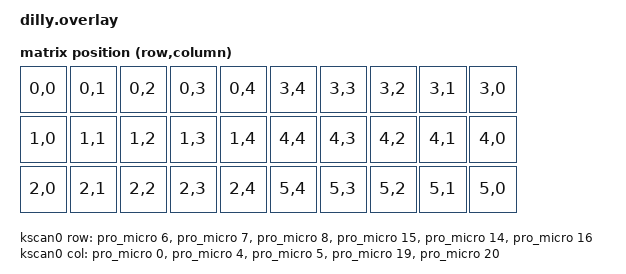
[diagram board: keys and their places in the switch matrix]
/*
 * Copyright (c) 2025 Your Name
 *
 * SPDX-License-Identifier: MIT
 */

#include <dt-bindings/zmk/matrix_transform.h>

/ {
    chosen {
        zmk,kscan = &kscan0;
        zmk,matrix_transform = &default_transform;
    };

    default_transform: keymap_transform_0 {
        compatible = "zmk,matrix-transform";
        columns = <10>;  // Logical columns in the keymap
        rows = <3>;     // Logical rows in the keymap
        // Physical matrix is 6 rows x 5 columns
        // Map the physical matrix positions to the logical key positions
        // Format: RC(physical_row, physical_col) for each logical position
        map = <
            // Row 0
            // Row 1
            // Row 2
            RC(0,0) RC(0,1) RC(0,2) RC(0,3) RC(0,4)  RC(3,4) RC(3,3) RC(3,2) RC(3,1) RC(3,0)
            RC(1,0) RC(1,1) RC(1,2) RC(1,3) RC(1,4)  RC(4,4) RC(4,3) RC(4,2) RC(4,1) RC(4,0)
            RC(2,0) RC(2,1) RC(2,2) RC(2,3) RC(2,4)  RC(5,4) RC(5,3) RC(5,2) RC(5,1) RC(5,0)
        >;
    };

    kscan0: kscan {
        compatible = "zmk,kscan-gpio-matrix";
        label = "KSCAN";
        diode-direction = "col2row";
        
        // Column pins (D2, D4, C6, F6, F5)
        col-gpios
            = <&pro_micro 0 (GPIO_ACTIVE_HIGH)>
            , <&pro_micro 4 (GPIO_ACTIVE_HIGH)>
            , <&pro_micro 5 (GPIO_ACTIVE_HIGH)>
            , <&pro_micro 19 (GPIO_ACTIVE_HIGH)>
            , <&pro_micro 20 (GPIO_ACTIVE_HIGH)>
            ;
            
        // Row pins (D7, E6, B4, B1, B3, B2)
        row-gpios
            = <&pro_micro 6 (GPIO_ACTIVE_HIGH | GPIO_PULL_DOWN)>
            , <&pro_micro 7 (GPIO_ACTIVE_HIGH | GPIO_PULL_DOWN)>
            , <&pro_micro 8 (GPIO_ACTIVE_HIGH | GPIO_PULL_DOWN)>
            , <&pro_micro 15 (GPIO_ACTIVE_HIGH | GPIO_PULL_DOWN)>
            , <&pro_micro 14 (GPIO_ACTIVE_HIGH | GPIO_PULL_DOWN)>
            , <&pro_micro 16 (GPIO_ACTIVE_HIGH | GPIO_PULL_DOWN)>
            ;
    };

    // LED configuration for single-color LEDs on B5
    leds {
        compatible = "gpio-leds";
        leds_0: led_0 {
            gpios = <&pro_micro 9 GPIO_ACTIVE_HIGH>;  // B5 on Pro Micro
            label = "LEDs";
        };
    };

    // LED control
    behaviors {
        led: led_control {
            compatible = "zmk,behavior-led-control";
            label = "LED_CONTROL";
            #binding-cells = <1>;
            bindings = <&leds_control>;
        };
    };

    leds_control: leds_control {
        compatible = "zmk,leds-gpio";
        label = "LEDS";
        leds = <&leds_0>;
    };
};
